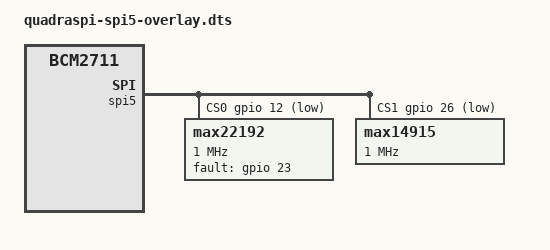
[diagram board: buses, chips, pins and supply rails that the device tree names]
// Device tree overlay for https://kws-computer.de/produkte-2/die-quadras-story/
// for details see ...

/dts-v1/;
/plugin/;


/ {
    compatible = "brcm,bcm2711";

    fragment@0 {
        target = <&spi5_cs_pins>;
        frag0: __overlay__ {
            brcm,pins = <12 26>;
            brcm,function = <1>; /* output */
        };
    };

    fragment@1 {
        target = <&spi5>;
        frag1: __overlay__ {
            #address-cells = <1>;
            #size-cells = <0>;

            pinctrl-names = "default";
            pinctrl-0 = <&spi5_pins &spi5_cs_pins>;
            cs-gpios = <&gpio 12 1>, <&gpio 26 1>;
            status = "okay";

            max22192: max22192@0 {
                compatible = "max22192";
                pinctrl-names = "default";
                pinctrl-0 = <&max22192_pins_spi5>;
                reg = <0>;      /* CE0 */
                #address-cells = <1>;
                #size-cells = <0>;
                spi-max-frequency = <1000000>;
                gpio-controller;
                #gpio-cells = <2>;
                // wirebreak-inputs = <1>, <2>, <3>, <4>, <5>, <6>, <7> ,<8>;

                fault-gpio = <&gpio 23 0>;
                status = "okay";

                gpio-line-names ="24V_Input_9","24V_Input_10","24V_Input_11","24V_Input_12","24V_Input_13","24V_Input_14","24V_Input_15","24V_Input_16";
            };

            max14915: max14915@1 {
                compatible = "max14915";
                pinctrl-names = "default";
                pinctrl-0 = <&max14915_pins_spi5>;
                reg = <1>;      /* CE1 */
                #address-cells = <1>;
                #size-cells = <0>;
                spi-max-frequency = <1000000>;
                gpio-controller;
                #gpio-cells = <2>;
                #device-addr = <2>;
                //fault-gpio = <&gpio 4 0>;
                // wirebreak-outputs = <1>, <2>, <3>, <4>, <5>, <6>, <7> ,<8>;
                // vdd-outputs = <1>, <2>, <3>, <4>, <5>, <6>, <7> ,<8>;
                vdd-limit = <12>;
                wires_pullup = <300>;
                status = "okay";

                gpio-line-names ="24V_Output_9","24V_Output_10","24V_Output_11","24V_Output_12","24V_Output_13","24V_Output_14","24V_Output_15","24V_Output_16";
            };
        };
    };

    fragment@3 {
        target = <&gpio>;
        __overlay__ {
            max22192_pins_spi5: max22192_pins_spi5 {
                brcm,pins = <23>;
                brcm,function = <0>; /* in */
                brcm,pull = <0>; /* none */
            };

            max14915_pins_spi5: max14915_pins_spi5 {
                brcm,pins = <4>;
                brcm,function = <0>; /* in */
                brcm,pull = <0>; /* none */
            };
        };
    };

    __overrides__ {
        cs0_pin  = <&frag0>,"brcm,pins:0",
               <&frag1>,"cs-gpios:4";
        cs1_pin  = <&frag0>,"brcm,pins:4",
               <&frag1>,"cs-gpios:16";
        cs0_spidev = <&max22192>,"status";
        cs1_spidev = <&max14915>,"status";
        speed   = <&max14915>, "spi-max-frequency:0";
    };
};
